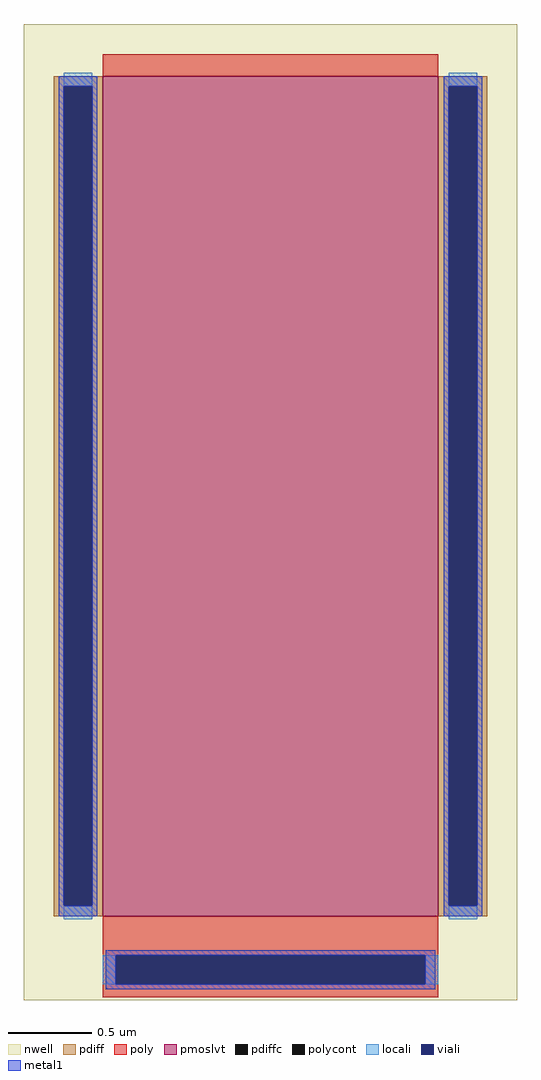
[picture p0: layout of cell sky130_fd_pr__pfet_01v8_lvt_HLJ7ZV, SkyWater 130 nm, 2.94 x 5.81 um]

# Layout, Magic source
magic
tech sky130A
magscale 1 2
<< nwell >>
rect -294 -564 294 598
<< pmoslvt >>
rect -200 -464 200 536
<< pdiff >>
rect -258 524 -200 536
rect -258 -452 -246 524
rect -212 -452 -200 524
rect -258 -464 -200 -452
rect 200 524 258 536
rect 200 -452 212 524
rect 246 -452 258 524
rect 200 -464 258 -452
<< pdiffc >>
rect -246 -452 -212 524
rect 212 -452 246 524
<< poly >>
rect -200 536 200 562
rect -200 -511 200 -464
rect -200 -545 -184 -511
rect 184 -545 200 -511
rect -200 -561 200 -545
<< polycont >>
rect -184 -545 184 -511
<< locali >>
rect -246 524 -212 540
rect -246 -468 -212 -452
rect 212 524 246 540
rect 212 -468 246 -452
rect -200 -545 -184 -511
rect 184 -545 200 -511
<< viali >>
rect -246 -452 -212 524
rect 212 -452 246 524
rect -184 -545 184 -511
<< metal1 >>
rect -252 524 -206 536
rect -252 -452 -246 524
rect -212 -452 -206 524
rect -252 -464 -206 -452
rect 206 524 252 536
rect 206 -452 212 524
rect 246 -452 252 524
rect 206 -464 252 -452
rect -196 -511 196 -505
rect -196 -545 -184 -511
rect 184 -545 196 -511
rect -196 -551 196 -545
<< properties >>
string gencell sky130_fd_pr__pfet_01v8_lvt
string library sky130
string parameters w 5.0 l 2.0 m 1 nf 1 diffcov 100 polycov 100 guard 0 glc 1 grc 1 gtc 1 gbc 1 tbcov 100 rlcov 100 topc 0 botc 1 poverlap 0 doverlap 1 lmin 0.35 wmin 0.42 compatible {sky130_fd_pr__pfet_01v8  sky130_fd_pr__pfet_01v8_lvt sky130_fd_pr__pfet_01v8_hvt  sky130_fd_pr__pfet_g5v0d10v5} full_metal 0 viasrc 100 viadrn 100 viagate 100 viagb 0 viagr 0 viagl 0 viagt 0
<< end >>
